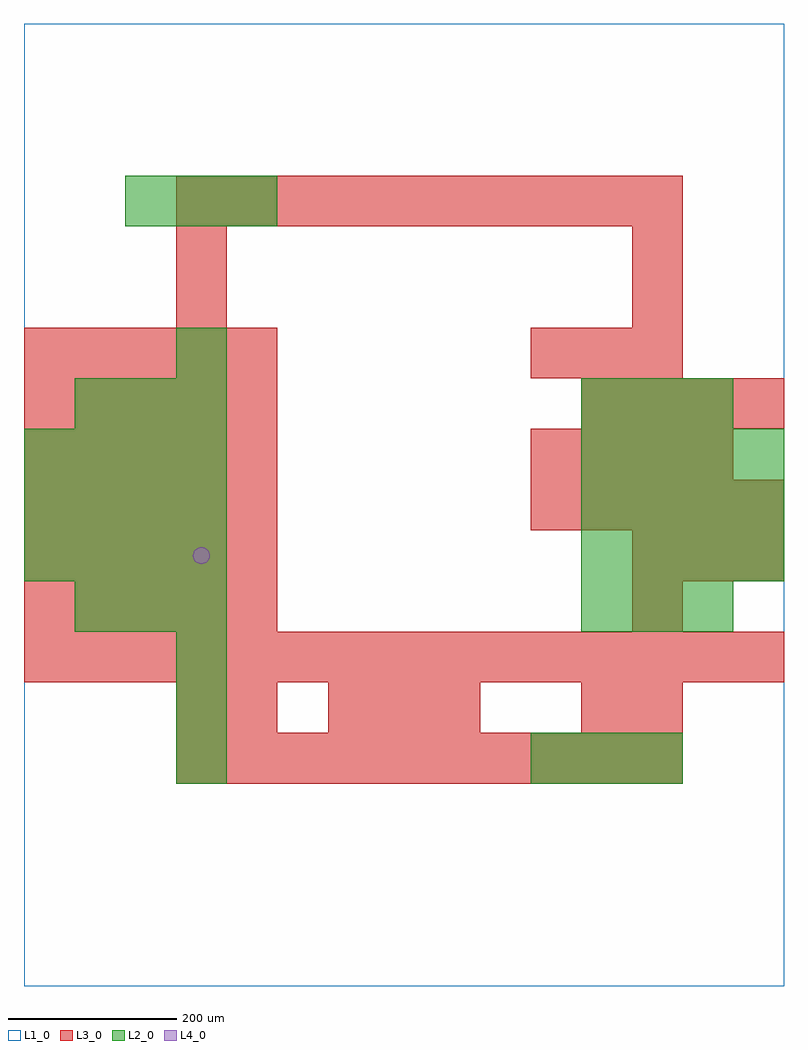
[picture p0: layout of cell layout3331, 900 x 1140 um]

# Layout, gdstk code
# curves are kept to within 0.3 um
import gdstk
lib = gdstk.Library(unit=1e-6, precision=1e-09)
def R(c, l, rs):  # rectangles x0, y0, x1, y1
    for r in rs: c.add(gdstk.rectangle(r[:2], r[2:], *l))
def A(c, l, x, y, w, h, nx, ny, dx, dy):  # array of equal rectangles
    R(c, l, [(x+i*dx, y+j*dy, x+i*dx+w, y+j*dy+h) for i in range(nx) for j in range(ny)])
def P(c, l, *ps):  # polygons
    for p in ps: c.add(gdstk.Polygon(p, *l))
L1_0 = (1, 0)
L2_0 = (2, 0)
L3_0 = (3, 0)
L4_0 = (4, 0)

layout3331 = lib.new_cell('layout3331')
R(layout3331, L1_0, [(0,0,900,1140)])
A(layout3331, L2_0, 180, 240, 60, 60, 1, 3, 0, 60)
A(layout3331, L2_0, 600, 240, 60, 60, 3, 1, 60, 0)
A(layout3331, L2_0, 60, 420, 60, 60, 3, 2, 60, 240)
A(layout3331, L2_0, 660, 420, 60, 60, 3, 2, 60, 240)
A(layout3331, L2_0, 0, 480, 60, 60, 4, 3, 60, 60)
A(layout3331, L2_0, 660, 480, 60, 60, 4, 3, 60, 60)
A(layout3331, L2_0, 120, 900, 60, 60, 3, 1, 60, 0)
R(layout3331, L2_0, [(180,720,240,780)])
A(layout3331, L3_0, 180, 240, 60, 60, 10, 2, 60, 660)
A(layout3331, L3_0, 360, 300, 60, 60, 3, 1, 60, 0)
A(layout3331, L3_0, 0, 360, 60, 60, 15, 1, 60, 0)
A(layout3331, L3_0, 0, 420, 60, 60, 5, 6, 60, 60)
A(layout3331, L3_0, 720, 480, 60, 60, 3, 1, 60, 0)
A(layout3331, L3_0, 600, 540, 60, 60, 5, 1, 60, 0)
A(layout3331, L3_0, 600, 600, 60, 60, 4, 1, 60, 0)
A(layout3331, L3_0, 660, 660, 60, 60, 4, 1, 60, 0)
A(layout3331, L3_0, 600, 720, 60, 60, 3, 1, 60, 0)
R(layout3331, L3_0, [(180,300,240,360), (240,300,300,360), (660,300,720,360), (720,300,780,360), (720,420,780,480), (180,780,240,840), (720,780,780,840), (180,840,240,900), (720,840,780,900)])
P(layout3331, L4_0, [(220,510),(219.239,513.827),(217.071,517.071),(213.827,519.239),(210,520),(206.173,519.239),(202.929,517.071),(200.761,513.827),(200,510),(200.761,506.173),(202.929,502.929),(206.173,500.761),(210,500),(213.827,500.761),(217.071,502.929),(219.239,506.173)])

lib.write_gds('layout3331.gds')
